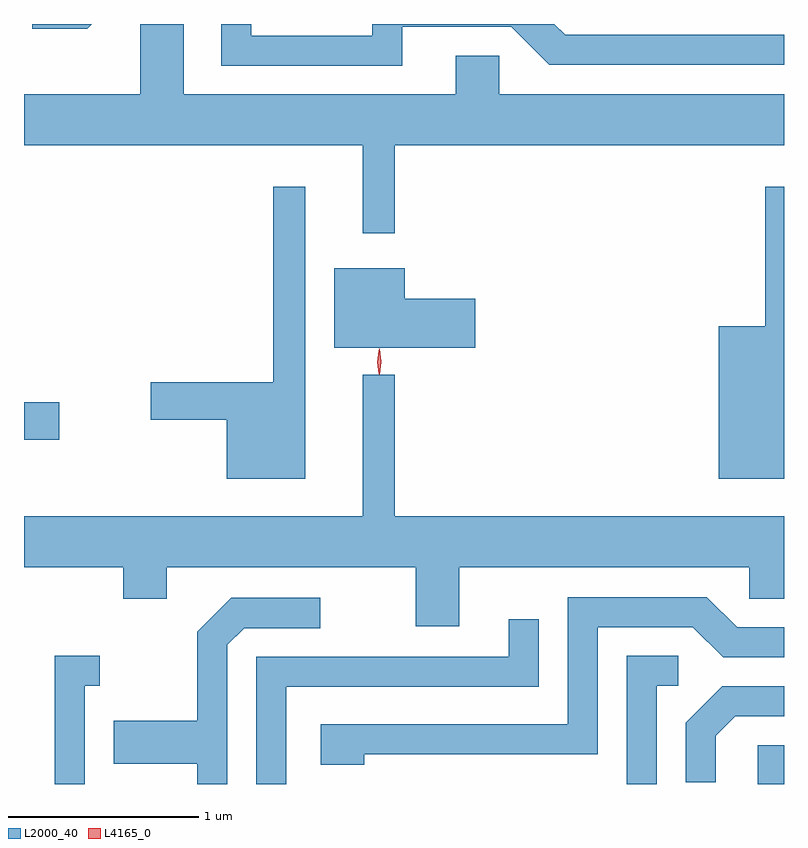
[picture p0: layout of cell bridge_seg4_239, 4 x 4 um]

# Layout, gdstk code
import gdstk
lib = gdstk.Library(unit=1e-6, precision=1e-09)
def R(c, l, rs):  # rectangles x0, y0, x1, y1
    for r in rs: c.add(gdstk.rectangle(r[:2], r[2:], *l))
def P(c, l, *ps):  # polygons
    for p in ps: c.add(gdstk.Polygon(p, *l))
L2000_40 = (2000, 40)
L4165_0 = (4165, 0)

bridge_seg4_239 = lib.new_cell('bridge_seg4_239')
R(bridge_seg4_239, L2000_40, [(593.641,1380.175,593.779,1380.379), (589.779,1381.986,589.964,1382.184)])
P(bridge_seg4_239, L2000_40, [(591.729,1383.536),(593.779,1383.536),(593.779,1383.804),(592.279,1383.804),(592.279,1384.009),(592.051,1384.009),(592.051,1383.804),(590.619,1383.804),(590.619,1384.175),(590.391,1384.175),(590.391,1383.804),(589.779,1383.804),(589.779,1383.536),(591.561,1383.536),(591.561,1383.073),(591.729,1383.073)],
  [(590.136,1384.175),(589.823,1384.175),(589.823,1384.151),(590.112,1384.151)],
  [(591.769,1384.161),(592.344,1384.161),(592.544,1383.961),(593.779,1383.961),(593.779,1384.119),(592.627,1384.119),(592.571,1384.175),(591.611,1384.175),(591.611,1384.114),(590.974,1384.114),(590.974,1384.175),(590.816,1384.175),(590.816,1383.956),(591.769,1383.956)],
  [(591.259,1383.318),(591.091,1383.318),(591.091,1382.289),(590.446,1382.289),(590.446,1382.091),(590.846,1382.091),(590.846,1381.781),(591.259,1381.781)],
  [(593.779,1383.318),(593.681,1383.318),(593.681,1382.584),(593.436,1382.584),(593.436,1381.781),(593.779,1381.781)],
  [(592.154,1382.729),(591.784,1382.729),(591.784,1382.889),(591.411,1382.889),(591.411,1382.471),(592.154,1382.471)],
  [(592.069,1381.316),(593.596,1381.316),(593.596,1381.151),(593.779,1381.151),(593.779,1381.584),(591.729,1381.584),(591.729,1382.328),(591.561,1382.328),(591.561,1381.584),(589.779,1381.584),(589.779,1381.316),(590.301,1381.316),(590.301,1381.151),(590.529,1381.151),(590.529,1381.316),(591.841,1381.316),(591.841,1381.006),(592.069,1381.006)],
  [(591.569,1380.331),(592.799,1380.331),(592.799,1381.001),(593.299,1381.001),(593.459,1380.841),(593.779,1380.841),(593.779,1380.999),(593.532,1380.999),(593.372,1381.159),(592.641,1381.159),(592.641,1380.489),(591.341,1380.489),(591.341,1380.276),(591.569,1380.276)],
  [(590.849,1380.909),(590.937,1380.996),(591.338,1380.996),(591.338,1381.154),(590.869,1381.154),(590.691,1380.977),(590.691,1380.509),(590.251,1380.509),(590.251,1380.281),(590.691,1380.281),(590.691,1380.175),(590.849,1380.175)],
  [(591.159,1380.686),(592.489,1380.686),(592.489,1381.043),(592.331,1381.043),(592.331,1380.844),(591.001,1380.844),(591.001,1380.175),(591.159,1380.175)],
  [(590.099,1380.691),(590.178,1380.691),(590.178,1380.849),(589.941,1380.849),(589.941,1380.175),(590.099,1380.175)],
  [(593.109,1380.691),(593.223,1380.691),(593.223,1380.849),(592.951,1380.849),(592.951,1380.175),(593.109,1380.175)],
  [(593.419,1380.429),(593.522,1380.531),(593.779,1380.531),(593.779,1380.689),(593.454,1380.689),(593.261,1380.497),(593.261,1380.183),(593.419,1380.183)])
P(bridge_seg4_239, L4165_0, [(591.65,1382.33),(591.65,1382.33),(591.64,1382.398),(591.65,1382.465),(591.65,1382.466),(591.651,1382.465),(591.66,1382.398),(591.651,1382.33)],
  [(591.647,1382.333),(591.638,1382.396),(591.647,1382.459),(591.648,1382.46),(591.648,1382.459),(591.658,1382.396),(591.648,1382.333),(591.648,1382.333)])

lib.write_gds('bridge_seg4_239.gds')
